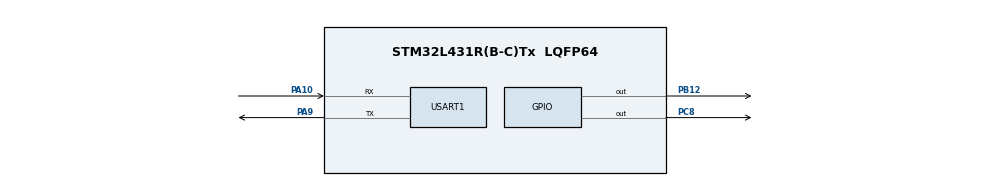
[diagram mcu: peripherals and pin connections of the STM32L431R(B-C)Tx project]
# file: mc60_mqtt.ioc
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Mcu.Family=STM32L4
Mcu.Name=STM32L431R(B-C)Tx
Mcu.Package=LQFP64
NVIC.PriorityGroup=NVIC_PRIORITYGROUP_4
NVIC.USART1_IRQn=true\:0\:0\:false\:false\:true\:true\:true
PA10.Mode=Asynchronous
PA10.Signal=USART1_RX
PA9.Mode=Asynchronous
PA9.Signal=USART1_TX
PB12.Signal=GPIO_Output
PC8.Signal=GPIO_Output
ProjectManager.HeapSize=0x200
ProjectManager.StackSize=0x400
ProjectManager.TargetToolchain=STM32CubeIDE
RCC.HSE_VALUE=8000000
RCC.HSI48_VALUE=48000000
RCC.HSI_VALUE=16000000
RCC.LSE_VALUE=32768
RCC.MSI_VALUE=4000000
RCC.VCOOutputFreq_Value=32000000
USART1.VirtualMode-Asynchronous=VM_ASYNC
board=custom

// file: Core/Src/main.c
/* USER CODE BEGIN Header */
/**
  ******************************************************************************
  * @file           : main.c
  * @brief          : Main program body
  ******************************************************************************
  * @attention
  *
  * <h2><center>&copy; Copyright (c) 2021 STMicroelectronics.
  * All rights reserved.</center></h2>
  *
  * This software component is licensed by ST under BSD 3-Clause license,
  * the "License"; You may not use this file except in compliance with the
  * License. You may obtain a copy of the License at:
  *                        opensource.org/licenses/BSD-3-Clause
  *
  ******************************************************************************
  */
/* USER CODE END Header */
#include "main.h"

/* USER CODE BEGIN Includes */
#include <stdio.h>
#include <stdbool.h>
#include <string.h>
#include "certificates.h"

#define AT_CHECK 						"AT\r\n"
#define AT_CHECK_RESP					"OK\0"
#define SIM_ECO_MODE_OFF				"ATE0\r\n"
#define SIM_ECO_MODE_OFF_RESP			"OK\0"
#define SIM_BAUD_115200					"AT+IPR=115200&W\r\n"
#define SIM_BAUD_115200_RESP			"OK\0"
#define SIM_READY 						"AT+CPIN?\r\n"
#define SIM_READY_RESP	 				"+CPIN: READY"
#define SIM_CREG						"AT+CREG?\r\n"
#define SIM_CGREG						"AT+CGREG?\r\n"
#define SIM_EN_TCPIP_MODE				"AT+QIMODE=0\r\n"
#define SIM_EN_TCPIP_MODE_RESP			"OK\0"
#define SIM_APN_SET						"AT+QICSGP=1,\"Airteliot.com\"\r\n"
#define SIM_APN_SET_RESP				"OK\0"
#define SIM_TCPIP_STACK_START			"AT+QIREGAPP= \"Airteliot.com\"\r\n"
#define SIM_TCPIP_STACK_START_RESP		"OK"
#define SIM_QUERY_CONN_MODE				"AT+QICSGP?\r\n"
#define SIM_EN_GPRS						"AT+QIACT\r\n"
#define SIM_EN_GPRS_RESP				"OK"
#define SIM_QUERY_LOCAL_IP				"AT+QILOCIP\r\n"
#define SIM_DEL_OLD_CA_CERT				"AT+QSECDEL=\"RAM:root-CA\"\r\n"
#define SIM_DEL_OLD_CA_CERT_RESP		"OK"
#define SIM_DEL_OLD_CLIENT_CERT			"AT+QSECDEL=\"RAM:Cleint-certificate.pem.crt\"\r\n"
#define SIM_DEL_OLD_CLIENT_CERT_RESP	"OK"
#define SIM_DEL_OLD_USERKEY_CERT		"AT+QSECDEL=\"RAM:ClientKey-private.pem\"\r\n"
#define SIM_DEL_OLD_USERKEY_CERT_RESP	"OK"
#define SIM_SSL_EN						"AT+QMTCFG=\"SSL\",1,1,2\r\n"
#define SIM_SSL_EN_RESP					"OK"
#define SIM_STORE_CA_CERT_RAM			"AT+QSECWRITE=\"RAM:root-CA\",%d,%d\r\n" // needs reconfiguration
#define SIM_STORE_CA_CERT_RAM_RESP		"CONNECT"
#define SIM_CA_CERT_PAYLOAD_RESP		"+QSECWRITE"
#define SIM_STORE_CLIENT_CERT_RAM		"AT+QSECWRITE=\"RAM:Cleint-certificate.pem.crt\",%d,%d\r\n" // needs reconfiguration
#define SIM_STORE_CLIENT_CERT_RAM_RESP	"CONNECT"
#define SIM_CLIENT_CERT_PAYLOAD_RESP	"+QSECWRITE"
#define SIM_STORE_USR_KEY_CERT_RAM		"AT+QSECWRITE=\"RAM:ClientKey-private.pem\",%d,%d\r\n" // needs reconfiguration
#define SIM_STORE_USR_KEY_CERT_RAM_RESP	"CONNECT"
#define SIM_USR_KEY_CERT_PAYLOAD_RESP	"+QSECWRITE"
#define SIM_VALIDATE_CA_CHECKSUM		"AT+QSECREAD=\"RAM:root-CA\"\r\n"
#define SIM_VALIDATE_CA_CHECKSUM_RESP	"+QSECREAD:"
#define SIM_VALIDATE_CLIENT_CHECKSUM		"AT+QSECREAD=\"RAM:Cleint-certificate.pem.crt\"\r\n"
#define SIM_VALIDATE_CLIENT_CHECKSUM_RESP	"+QSECREAD:"
#define SIM_VALIDATE_USR_KEY_CHECKSUM		"AT+QSECREAD=\"RAM:ClientKey-private.pem\"\r\n"
#define SIM_VALIDATE_USR_KEY_CHECKSUM_RESP	"+QSECREAD:"
#define SIM_SET_CA_CERT_LOC				"AT+QSSLCFG=\"cacert\",2,\"RAM:root-CA\"\r\n"
#define SIM_SET_CA_CERT_LOC_RESP		"OK"
#define	SIM_SET_CLIENT_CERT_LOC			"AT+QSSLCFG=\"clientcert\",2,\"RAM:Cleint-certificate.pem.crt\"\r\n"
#define	SIM_SET_CLIENT_CERT_LOC_RESP	"OK"
#define SIM_SET_USER_KEY_CERT_LOC		"AT+QSSLCFG=\"clientkey\",2,\"RAM:ClientKey-private.pem\"\r\n"
#define SIM_SET_USER_KEY_CERT_LOC_RESP	"OK"
#define SIM_SET_SECURITY_LEVEL			"AT+QSSLCFG=\"seclevel\",2,2\r\n"
#define SIM_SET_SECURITY_LEVEL_RESP		"OK"
#define SIM_SET_SSL_VERSION				"AT+QSSLCFG=\"sslversion\",2,4\r\n"
#define SIM_SET_SSL_VERSION_RESP		"OK"
#define SIM_SET_CIPHER_SUITES			"AT+QSSLCFG=\"ciphersuite\",2,\"0xFFFF\"\r\n"
#define SIM_SET_CIPHER_SUITES_RESP		"OK"
#define SIM_SET_IGNORE_RTC_TIME			"AT+QSSLCFG=\"ignorertctime\",1\r\n"
#define SIM_SET_IGNORE_RTC_TIME_RESP	"OK"
#define SIM_OPEN_MQTT_CONNECTION		"AT+QMTOPEN=1,\"%s\",%d\r\n" //url and port
#define SIM_OPEN_MQTT_CONNECTION_RESP	"OK"
#define SIM_OPEN_MQTT_CONNECTION_RESP2	"+QMTOPEN: 1,0"
#define SIM_SEND_USER_ID				"AT+QMTCONN=1,\"%s\"\r\n" //user ID
#define SIM_SEND_USER_ID_RESP			"OK"
#define SIM_SEND_USER_ID_RESP2			"+QMTCONN: 1,0,0"
#define SIM_MQTT_SUBSCRIBE				"AT+QMTSUB=1,1,\"%s\",1\r\n" // subscribe topic
#define SIM_MQTT_SUBSCRIBE_RESP			"OK"
#define SIM_MQTT_SUBSCRIBE_RESP2		"+QMTSUB: 1,1,0,1"
#define SIM_MQTT_PUBLISH_DATA			"AT+QMTPUB=1,1,1,0,\"%s\",%d\r\n" // publish topic
#define SIM_MQTT_PUBLISH_DATA_RESP		">"
#define SIM_MQTT_PUBLISH_DATA_RESP1		"OK"
#define SIM_MQTT_PUBLISH_DATA_RESP2		"+QMTPUB: 1,1,0"
#define SIM_MQTT_DATA_RECV				"+QMTRECV:"
/* USER CODE END Includes */

/* USER CODE BEGIN PM */
void gsmPower(bool state);
void powerKey(bool state);
bool checkSimStatus();
bool connectToAWS();
bool configureSSL();
bool uploadCertificates();
bool enableGPRS();
/* USER CODE END PM */

UART_HandleTypeDef huart1;

void SystemClock_Config(void);
static void MX_GPIO_Init(void);
static void MX_USART1_UART_Init(void);
/* USER CODE BEGIN PFP */

typedef enum State
{
	disable = 0,
	enable,
}State_t;

/* USER CODE END PFP */

/* USER CODE BEGIN 0 */
/**
  * @brief This function handles USART1 global interrupt.
  */
uint8_t Data[1000] = {0};
int counter = 0;

void USART1_IRQHandler(void)
{
  /* USER CODE BEGIN USART1_IRQn 0 */

  /* USER CODE END USART1_IRQn 0 */
  HAL_UART_IRQHandler(&huart1);
  /* USER CODE BEGIN USART1_IRQn 1 */
  Data[counter++] = USART1->RDR;
  if(counter > 999)
	  counter = 0;
/*  if(Data[counter - 1] == '\n' && Data[counter - 2] == '\r' && counter >= 4)
  {
	  counter = 0;
	  ResponseReceived = true;
  }*/
 // printf(" Data received = %c\n",(char)data);

  /* USER CODE END USART1_IRQn 1 */
}

void transmit_data(char *data, uint16_t length)
{
	HAL_UART_Transmit(&huart1,(uint8_t *)data,length,100);
}
/* USER CODE END 0 */

int main(void)
{
  /* USER CODE BEGIN 1 */
//	initialise_monitor_handles();
  /* USER CODE END 1 */

  /* MCU Configuration--------------------------------------------------------*/

  /* Reset of all peripherals, Initializes the Flash interface and the Systick. */
  HAL_Init();

  /* Configure the system clock */
  SystemClock_Config();

  /* Initialize all configured peripherals */
  MX_GPIO_Init();
  gsmPower(enable);
  powerKey(disable);
  HAL_Delay(100);
  powerKey(enable);
  HAL_Delay(1000);
  powerKey(disable);
  MX_USART1_UART_Init();
  /* USER CODE BEGIN 2 */
  __HAL_UART_ENABLE_IT(&huart1,UART_IT_RXNE);
  HAL_Delay(5000);
  /* USER CODE END 2 */

  /* Infinite loop */
  /* USER CODE BEGIN WHILE */
  //memset(Data,0,100);
  //counter = 0;
  if(checkSimStatus() == false)
	  NVIC_SystemReset();

  if(enableGPRS() == false)
	  NVIC_SystemReset();

  if(uploadCertificates() == false)
	  NVIC_SystemReset();

  if(configureSSL() == false)
	  NVIC_SystemReset();

  if(connectToAWS() == false)
	  NVIC_SystemReset();

	  /*
	   * bool connectToAWS();
	   * bool configureSSL();
	   * bool uploadCertificates();
	   * bool enableGPRS();
	   */

  while (1)
  {
    /* USER CODE END WHILE */

    /* USER CODE BEGIN 3 */
		transmit_data("AT+QMTCONN?\r\n",strlen("AT+QMTCONN?\r\n"));
		HAL_Delay(1000);
  }
  /* USER CODE END 3 */
}

void SystemClock_Config(void)
{
  RCC_OscInitTypeDef RCC_OscInitStruct = {0};
  RCC_ClkInitTypeDef RCC_ClkInitStruct = {0};
  RCC_PeriphCLKInitTypeDef PeriphClkInit = {0};

  /** Initializes the RCC Oscillators according to the specified parameters
  * in the RCC_OscInitTypeDef structure.
  */
  RCC_OscInitStruct.OscillatorType = RCC_OSCILLATORTYPE_MSI;
  RCC_OscInitStruct.MSIState = RCC_MSI_ON;
  RCC_OscInitStruct.MSICalibrationValue = 0;
  RCC_OscInitStruct.MSIClockRange = RCC_MSIRANGE_6;
  RCC_OscInitStruct.PLL.PLLState = RCC_PLL_NONE;
  if (HAL_RCC_OscConfig(&RCC_OscInitStruct) != HAL_OK)
  {
    Error_Handler();
  }
  /** Initializes the CPU, AHB and APB buses clocks
  */
  RCC_ClkInitStruct.ClockType = RCC_CLOCKTYPE_HCLK|RCC_CLOCKTYPE_SYSCLK
                              |RCC_CLOCKTYPE_PCLK1|RCC_CLOCKTYPE_PCLK2;
  RCC_ClkInitStruct.SYSCLKSource = RCC_SYSCLKSOURCE_MSI;
  RCC_ClkInitStruct.AHBCLKDivider = RCC_SYSCLK_DIV1;
  RCC_ClkInitStruct.APB1CLKDivider = RCC_HCLK_DIV1;
  RCC_ClkInitStruct.APB2CLKDivider = RCC_HCLK_DIV1;

  if (HAL_RCC_ClockConfig(&RCC_ClkInitStruct, FLASH_LATENCY_0) != HAL_OK)
  {
    Error_Handler();
  }
  PeriphClkInit.PeriphClockSelection = RCC_PERIPHCLK_USART1;
  PeriphClkInit.Usart1ClockSelection = RCC_USART1CLKSOURCE_PCLK2;
  if (HAL_RCCEx_PeriphCLKConfig(&PeriphClkInit) != HAL_OK)
  {
    Error_Handler();
  }
  /** Configure the main internal regulator output voltage
  */
  if (HAL_PWREx_ControlVoltageScaling(PWR_REGULATOR_VOLTAGE_SCALE1) != HAL_OK)
  {
    Error_Handler();
  }
}

static void MX_USART1_UART_Init(void)
{

  huart1.Instance = USART1;
  huart1.Init.BaudRate = 115200;
  huart1.Init.WordLength = UART_WORDLENGTH_8B;
  huart1.Init.StopBits = UART_STOPBITS_1;
  huart1.Init.Parity = UART_PARITY_NONE;
  huart1.Init.Mode = UART_MODE_TX_RX;
  huart1.Init.HwFlowCtl = UART_HWCONTROL_NONE;
  huart1.Init.OverSampling = UART_OVERSAMPLING_16;
  huart1.Init.OneBitSampling = UART_ONE_BIT_SAMPLE_DISABLE;
  huart1.AdvancedInit.AdvFeatureInit = UART_ADVFEATURE_NO_INIT;
  if (HAL_UART_Init(&huart1) != HAL_OK)
  {
    Error_Handler();
  }

}

static void MX_GPIO_Init(void)
{
  GPIO_InitTypeDef GPIO_InitStruct = {0};

  /* GPIO Ports Clock Enable */
  __HAL_RCC_GPIOB_CLK_ENABLE();
  __HAL_RCC_GPIOC_CLK_ENABLE();
  __HAL_RCC_GPIOA_CLK_ENABLE();

  /*Configure GPIO pin Output Level */
  HAL_GPIO_WritePin(GPIOB, GPIO_PIN_12, GPIO_PIN_RESET);

  /*Configure GPIO pin Output Level */
  HAL_GPIO_WritePin(GPIOC, GPIO_PIN_8, GPIO_PIN_RESET);

  /*Configure GPIO pin : PB12 */
  GPIO_InitStruct.Pin = GPIO_PIN_12;
  GPIO_InitStruct.Mode = GPIO_MODE_OUTPUT_PP;
  GPIO_InitStruct.Pull = GPIO_NOPULL;
  GPIO_InitStruct.Speed = GPIO_SPEED_FREQ_LOW;
  HAL_GPIO_Init(GPIOB, &GPIO_InitStruct);

  /*Configure GPIO pin : PC8 */
  GPIO_InitStruct.Pin = GPIO_PIN_8;
  GPIO_InitStruct.Mode = GPIO_MODE_OUTPUT_PP;
  GPIO_InitStruct.Pull = GPIO_NOPULL;
  GPIO_InitStruct.Speed = GPIO_SPEED_FREQ_LOW;
  HAL_GPIO_Init(GPIOC, &GPIO_InitStruct);

}

/* USER CODE BEGIN 4 */
void gsmPower(bool state)
{
	HAL_GPIO_WritePin(GPIOC,GPIO_PIN_8,state);
}

void powerKey(bool state)
{
	HAL_GPIO_WritePin(GPIOB,GPIO_PIN_12,state);
}

bool checkSimStatus()
{
	retry:
	//transmit_data("AT+CMEE=2\r\n",strlen("AT+CMEE=2\r\n"));
	//HAL_Delay(1000);

	transmit_data("AT+QGNSSC=0\r\n",strlen("AT+QGNSSC=0\r\n"));
	HAL_Delay(1000);

	transmit_data(AT_CHECK,strlen(AT_CHECK));
	HAL_Delay(300);
	if(strstr((char *)Data,AT_CHECK_RESP) == 0)
		goto retry;

	transmit_data(SIM_ECO_MODE_OFF,strlen(SIM_ECO_MODE_OFF));
	HAL_Delay(300);
	if(strstr((char *)Data,SIM_ECO_MODE_OFF_RESP) == 0)
		goto retry;

	transmit_data(SIM_BAUD_115200,strlen(SIM_BAUD_115200));
	HAL_Delay(300);
	if(strstr((char *)Data,SIM_BAUD_115200_RESP) == 0)
		goto retry;

	/*HAL_Delay(300);
	transmit_data(SIM_READY,strlen(SIM_READY));
	while(!ResponseReceived);
	ResponseReceived = false;
	if(strstr((char *)Data,SIM_READY_RESP) == 0)
		goto retry;*/

	transmit_data(SIM_CREG,strlen(SIM_CREG));
	HAL_Delay(300);

	transmit_data(SIM_CGREG,strlen(SIM_CGREG));
	HAL_Delay(300);

	memset(Data,'_', sizeof(Data));
	return true;
}

bool enableGPRS()
{
	//select TCP IP stack mode
	retry1:
	transmit_data(SIM_EN_TCPIP_MODE,strlen(SIM_EN_TCPIP_MODE));
	HAL_Delay(300);
	if(strstr((char *)Data,SIM_EN_TCPIP_MODE_RESP) == 0)
		goto retry1;

	//Configure APN
	retry2:
	transmit_data(SIM_APN_SET,strlen(SIM_APN_SET));
	HAL_Delay(1000);
	if(strstr((char *)Data,SIM_APN_SET_RESP) == NULL)
		goto retry2;

	//start TCP IP Stack
	retry3:
	transmit_data(SIM_TCPIP_STACK_START,strlen(SIM_TCPIP_STACK_START));
	HAL_Delay(300);
	if(strstr((char *)Data,SIM_TCPIP_STACK_START_RESP) == 0)
		goto retry3;

	//check current connection mode
	transmit_data(SIM_QUERY_CONN_MODE,strlen(SIM_QUERY_CONN_MODE));
	HAL_Delay(10000);

	// enable gprs context
	retry4:
	transmit_data(SIM_EN_GPRS,strlen(SIM_EN_GPRS));
	HAL_Delay(300);
	if(strstr((char *)Data,SIM_EN_GPRS_RESP) == 0)
		goto retry4;

	memset(Data,'_', sizeof(Data));
	return true;
}

bool uploadCertificates()
{
	// Delete OLD certificates
	/*transmit_data(SIM_DEL_OLD_CA_CERT,strlen(SIM_DEL_OLD_CA_CERT));
	HAL_Delay(300);

	transmit_data(SIM_DEL_OLD_CLIENT_CERT,strlen(SIM_DEL_OLD_CLIENT_CERT));
	HAL_Delay(300);

	transmit_data(SIM_DEL_OLD_USERKEY_CERT,strlen(SIM_DEL_OLD_USERKEY_CERT));
	HAL_Delay(300);*/

	// Send SSL Command
	retry8:
	HAL_Delay(2000);
	transmit_data(SIM_SSL_EN,strlen(SIM_SSL_EN));
	HAL_Delay(300);
	if(strstr((char *)Data,SIM_SSL_EN_RESP) == 0)
		goto retry8;

	//Write CA Certificate command'
	char data[100];
	retry9:
	sprintf(data,SIM_STORE_CA_CERT_RAM,strlen(CA_Certificate),100);
	transmit_data(data,strlen(data));
	HAL_Delay(300);
	if(strstr((char *)Data,SIM_STORE_CA_CERT_RAM_RESP) == 0)
		goto retry9;

	HAL_Delay(300);
	retry10:
	for(int i=0;i<strlen(CA_Certificate);i++)
	{
		transmit_data(CA_Certificate + i,1);
	}
	//Validate the data write response
	HAL_Delay(300);
	if(strstr((char *)Data,SIM_CA_CERT_PAYLOAD_RESP) == 0)
		goto retry10;

	//Write Client Certificate command
	retry11:
	memset(data,0,sizeof(data));
	sprintf(data,SIM_STORE_CLIENT_CERT_RAM,strlen(client_certificate),100);
	transmit_data(data,strlen(data));
	HAL_Delay(300);
	if(strstr((char *)Data,SIM_STORE_CLIENT_CERT_RAM_RESP) == 0)
		goto retry11;

	retry12:
	for(int i=0;i<strlen(client_certificate);i++)
		transmit_data(client_certificate + i,1);
	//Validate the data write response
	HAL_Delay(300);
	if(strstr((char *)Data,SIM_CLIENT_CERT_PAYLOAD_RESP) == 0)
		goto retry12;

	//Write user Key Certificate command'
	retry13:
	memset(data,0,sizeof(data));
	sprintf(data,SIM_STORE_USR_KEY_CERT_RAM,strlen(user_key),100);
	transmit_data(data,strlen(data));
	HAL_Delay(300);
	if(strstr((char *)Data,SIM_STORE_USR_KEY_CERT_RAM_RESP) == 0)
		goto retry13;

	retry14:
	for(int i=0;i<strlen(user_key);i++)
		transmit_data(user_key+i,1);
	//Validate the data write response
	HAL_Delay(300);
	if(strstr((char *)Data,SIM_USR_KEY_CERT_PAYLOAD_RESP) == 0)
		goto retry14;

	//check checksum of CA certificate
	HAL_Delay(10000);
	transmit_data(SIM_VALIDATE_CA_CHECKSUM,strlen(SIM_VALIDATE_CA_CHECKSUM));
	HAL_Delay(300);

	//check checksum of Client certificate
	transmit_data(SIM_VALIDATE_CLIENT_CHECKSUM,strlen(SIM_VALIDATE_CLIENT_CHECKSUM));
	HAL_Delay(300);

	//check checksum of User key certificate
	transmit_data(SIM_VALIDATE_USR_KEY_CHECKSUM,strlen(SIM_VALIDATE_USR_KEY_CHECKSUM));
	HAL_Delay(300);

	memset(Data,'_', sizeof(Data));
	return true;
}

bool configureSSL()
{
	//set location of ca cert
	retry15:
	transmit_data(SIM_SET_CA_CERT_LOC,strlen(SIM_SET_CA_CERT_LOC));
	HAL_Delay(300);
	if(strstr((char *)Data,SIM_SET_CA_CERT_LOC_RESP) == 0)
		goto retry15;

	//set location of client cer
	retry16:
	transmit_data(SIM_SET_CLIENT_CERT_LOC,strlen(SIM_SET_CLIENT_CERT_LOC));
	HAL_Delay(300);
	if(strstr((char *)Data,SIM_SET_CLIENT_CERT_LOC_RESP) == 0)
		goto retry16;

	//set location of user key cert
	retry17:
	transmit_data(SIM_SET_USER_KEY_CERT_LOC,strlen(SIM_SET_USER_KEY_CERT_LOC));
	HAL_Delay(300);
	if(strstr((char *)Data,SIM_SET_USER_KEY_CERT_LOC_RESP) == 0)
		goto retry17;

	//set security level 2
	retry18:
	transmit_data(SIM_SET_SECURITY_LEVEL,strlen(SIM_SET_SECURITY_LEVEL));
	HAL_Delay(300);
	if(strstr((char *)Data,SIM_SET_SECURITY_LEVEL_RESP) == 0)
		goto retry18;

	//set ssl version = 4
	retry19:
	transmit_data(SIM_SET_SSL_VERSION,strlen(SIM_SET_SSL_VERSION));
	HAL_Delay(300);
	if(strstr((char *)Data,SIM_SET_SSL_VERSION_RESP) == 0)
		goto retry19;

	//set support for all ssl cipher suites
	retry20:
	transmit_data(SIM_SET_CIPHER_SUITES,strlen(SIM_SET_CIPHER_SUITES));
	HAL_Delay(300);
	if(strstr((char *)Data,SIM_SET_CIPHER_SUITES_RESP) == 0)
		goto retry20;

	//ignore RTC time
	retry21:
	transmit_data(SIM_SET_IGNORE_RTC_TIME,strlen(SIM_SET_IGNORE_RTC_TIME));
	HAL_Delay(300);
	if(strstr((char *)Data,SIM_SET_IGNORE_RTC_TIME_RESP) == 0)
		goto retry21;

	memset(Data,'_', sizeof(Data));
	return true;
}

bool connectToAWS()
{
	char data1[100];
	transmit_data(SIM_QUERY_LOCAL_IP,strlen(SIM_QUERY_LOCAL_IP));
	HAL_Delay(10000);

	//Open Mqtt Connection
	retry22:
	sprintf(data1,SIM_OPEN_MQTT_CONNECTION,"<url>",8883);
	transmit_data(data1,strlen(data1));
	HAL_Delay(20000);
	if(strstr((char *)Data,SIM_OPEN_MQTT_CONNECTION_RESP2) == 0)
		goto retry22;

	//Connect with your user iD
	memset(data1,0,sizeof(data1));
	sprintf(data1,SIM_SEND_USER_ID,"clientExample");
	transmit_data(data1,strlen(data1));
	HAL_Delay(20000);
	if(strstr((char *)Data,SIM_SEND_USER_ID_RESP2) == 0)
		goto retry22;

	//Subscribe to the topic
	retry24:
	memset(data1,0,sizeof(data1));
	sprintf(data1,SIM_MQTT_SUBSCRIBE,"test_topic");
	transmit_data(data1,strlen(data1));
	HAL_Delay(1000);
	if(strstr((char *)Data,SIM_MQTT_SUBSCRIBE_RESP2) == 0)
		goto retry24;

	//Publish the samples data
	retry23:
	memset(data1,0,sizeof(data1));
	sprintf(data1,SIM_MQTT_PUBLISH_DATA,"test",strlen("test_data1234\r\n"));
	transmit_data(data1,strlen(data1));
	HAL_Delay(1000);
	if(strstr((char *)Data,SIM_MQTT_PUBLISH_DATA_RESP) == 0)
		goto retry23;

	transmit_data("test_data1234\r\n",strlen("test_data1234\r\n"));
	HAL_Delay(20000);
	if(strstr((char *)Data,SIM_MQTT_PUBLISH_DATA_RESP2) == 0)
		goto retry23;

	return true;
}
/* USER CODE END 4 */

void Error_Handler(void)
{
  __disable_irq();
  while (1)
  {
  }
}

/************************ (C) COPYRIGHT STMicroelectronics *****END OF FILE****/
